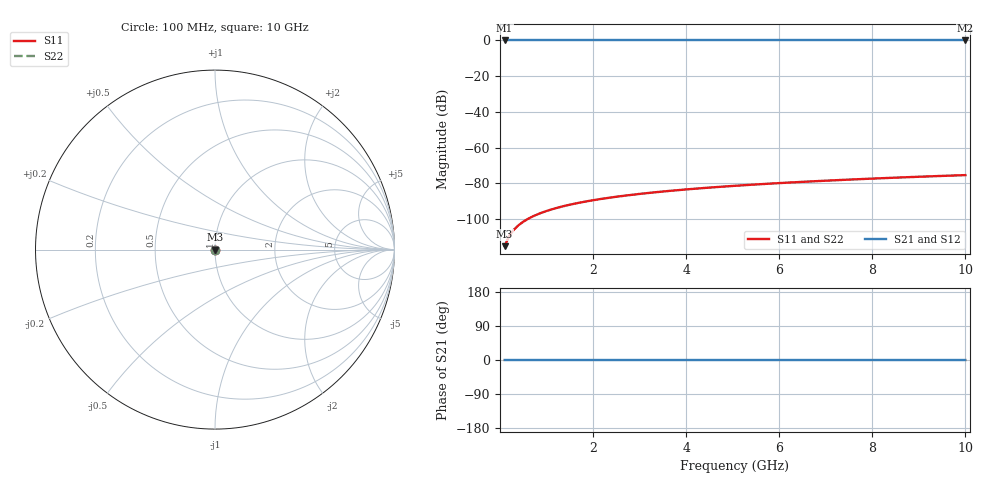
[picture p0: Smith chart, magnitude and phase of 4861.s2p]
# Hz S RI R 50.00
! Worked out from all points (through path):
!   100 points, 100 MHz to 10 GHz, reference 50 ohm
!   highest |S21| = 0.00 dB at 100 MHz (marker M1); lowest = 0.0 dB at 10 GHz (marker M2)
!   lowest |S11| = -115.1 dB at 100 MHz (marker M3), VSWR 1.00, Z = 50 - j0.000169 ohm
!   |S11| at or under -10 dB: start of sweep to end of sweep
!   |S22| runs from -115.1 to -75.4 dB; largest |S21 - S12| = 0
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1e8  4.74e-07 -1.69e-06  1 -5.92e-06  1 -5.92e-06  4.74e-07 -1.69e-06
1.8e9  4.57e-07 -3.04e-05  1 -0.000107  1 -0.000107  4.57e-07 -3.04e-05
3.4e9  4.14e-07 -5.76e-05  1 -0.000202  1 -0.000202  4.14e-07 -5.76e-05
5.1e9  3.61e-07 -8.65e-05  1 -0.000303  1 -0.000303  3.61e-07 -8.65e-05
5.8e9  3.37e-07 -9.85e-05  1 -0.000345  1 -0.000345  3.37e-07 -9.85e-05
5.9e9  3.33e-07 -0.0001  1 -0.000351  1 -0.000351  3.33e-07 -0.0001
6.1e9  3.26e-07 -0.000104  1 -0.000362  1 -0.000362  3.26e-07 -0.000104
6.3e9  3.19e-07 -0.000107  1 -0.000374  1 -0.000374  3.19e-07 -0.000107
6.5e9  3.12e-07 -0.00011  1 -0.000386  1 -0.000386  3.12e-07 -0.00011
6.7e9  3.05e-07 -0.000114  1 -0.000398  1 -0.000398  3.05e-07 -0.000114
6.9e9  2.97e-07 -0.000117  1 -0.00041  1 -0.00041  2.97e-07 -0.000117
7.1e9  2.9e-07 -0.000121  1 -0.000422  1 -0.000422  2.9e-07 -0.000121
7.3e9  2.82e-07 -0.000124  1 -0.000434  1 -0.000434  2.82e-07 -0.000124
7.5e9  2.74e-07 -0.000128  1 -0.000446  1 -0.000446  2.74e-07 -0.000128
7.7e9  2.67e-07 -0.000131  1 -0.000458  1 -0.000458  2.67e-07 -0.000131
7.9e9  2.59e-07 -0.000135  1 -0.00047  1 -0.00047  2.59e-07 -0.000135
8.1e9  2.51e-07 -0.000138  1 -0.000482  1 -0.000482  2.51e-07 -0.000138
8.4e9  2.39e-07 -0.000143  1 -0.0005  1 -0.0005  2.39e-07 -0.000143
8.8e9  2.23e-07 -0.00015  1 -0.000524  1 -0.000524  2.23e-07 -0.00015
9.2e9  2.06e-07 -0.000157  1 -0.000549  1 -0.000549  2.06e-07 -0.000157
9.6e9  1.89e-07 -0.000164  1 -0.000573  1 -0.000573  1.89e-07 -0.000164
1e10  1.72e-07 -0.000171  1 -0.000597  1 -0.000597  1.72e-07 -0.000171
